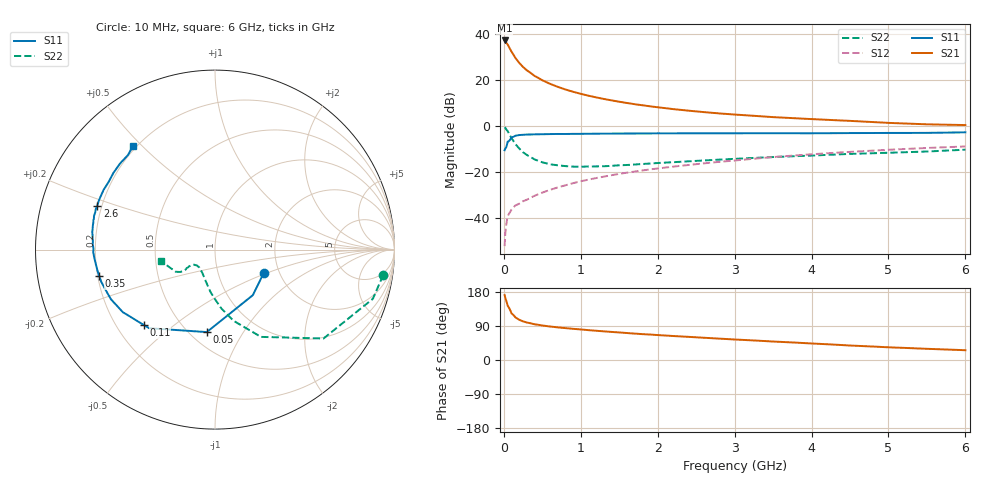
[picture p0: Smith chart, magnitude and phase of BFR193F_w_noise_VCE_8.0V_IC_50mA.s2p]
! Infineon Technologies  Discrete & RF Semiconductors
! BFR193F
! VCE =  8.0 V,  IC =  50 mA
! Common Emitter S-Parameters:  Jan 2017
# GHz  S  MA  R  50
!  f  S11  S21  S12  S22
! GHz  MAG  ANG  MAG  ANG  MAG  ANG  MAG  ANG
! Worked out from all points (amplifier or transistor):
!   77 points, 10 MHz to 6 GHz, reference 50 ohm
!   highest |S21| = 37.2 dB at 10 MHz (marker M1)
!   |S21| within 3 dB of that: start of sweep to 69.71 MHz
!   unconditionally stable (mu >= 1): 916.8 MHz to 2.576 GHz
!   at 130 MHz: K = 0.46, MSG = 32.9 dB, |S12| = -35.0 dB
!   at 2.2 GHz: K = 1.01, MAG = 11.8 dB, |S12| = -17.6 dB
!   at 6 GHz: K = 0.85, MSG = 4.6 dB, |S12| = -8.8 dB
!   lowest NFmin = 1.48 dB at 450 MHz
!   S11 on the Smith chart (normalised r, x): 10 MHz: 1.66, -0.48; 50 MHz: 0.60, -0.70; 110 MHz: 0.31, -0.39; 350 MHz: 0.21, -0.11; 2.6 GHz: 0.18, +0.18; 6 GHz: 0.19, +0.47
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0.01  0.3012 -25.9  72.35 171.4  0.0025 83.0  0.9479 -8.6
0.02  0.33 -50.3  69.66 163.1  0.005 76.9  0.9214 -17.3
0.05  0.4619 -95.7  58.89 143.2  0.0112 65.1  0.7817 -39.3
0.1  0.5715 -130.0  41.2 122.9  0.0155 51.8  0.5494 -62.3
0.11  0.5776 -133.4  38.94 121.3  0.0162 52.0  0.5197 -64.3
0.15  0.6206 -145.8  30.28 112.6  0.0191 52.6  0.4099 -75.4
0.2  0.6424 -154.5  23.61 106.1  0.0209 51.7  0.329 -83.9
0.25  0.6509 -160.5  19.21 101.9  0.0236 54.6  0.2716 -90.7
0.3  0.6588 -164.2  16.24 98.8  0.0255 57.2  0.2374 -96.1
0.35  0.6612 -167.1  14.25 96.8  0.0282 59.4  0.2132 -99.9
0.4  0.6652 -169.9  12.29 94.2  0.031 61.3  0.1902 -104.7
0.5  0.6698 -173.6  9.919 91.1  0.0363 64.2  0.1648 -111.7
0.6  0.6742 -176.2  8.307 88.4  0.0415 66.6  0.1495 -117.8
0.8  0.6773 179.5  6.255 84.2  0.0522 69.2  0.1363 -127.2
1.1  0.6852 174.6  4.584 78.8  0.0693 72.0  0.1337 -136.0
1.5  0.6926 169.7  3.393 72.7  0.0924 73.3  0.1421 -143.0
2.1  0.6992 163.6  2.461 64.6  0.1267 73.3  0.1623 -146.7
2.6  0.7001 159.5  2.02 58.7  0.1562 72.6  0.1807 -146.6
3.1  0.7026 155.2  1.745 53.1  0.1868 71.7  0.1995 -145.9
4.1  0.7035 146.5  1.401 42.6  0.2522 67.9  0.2345 -147.9
5.1  0.7141 136.7  1.163 32.7  0.3136 62.5  0.2686 -157.7
6  0.7362 128.5  1.058 25.8  0.3639 57.3  0.3096 -168.1
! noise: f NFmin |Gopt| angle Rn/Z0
0.45  1.48  0.47  -179  0.07
0.9  1.56  0.48  -178  0.08
1.9  2.14  0.6  -163  0.09
2.4  2.45  0.62  -155  0.15
